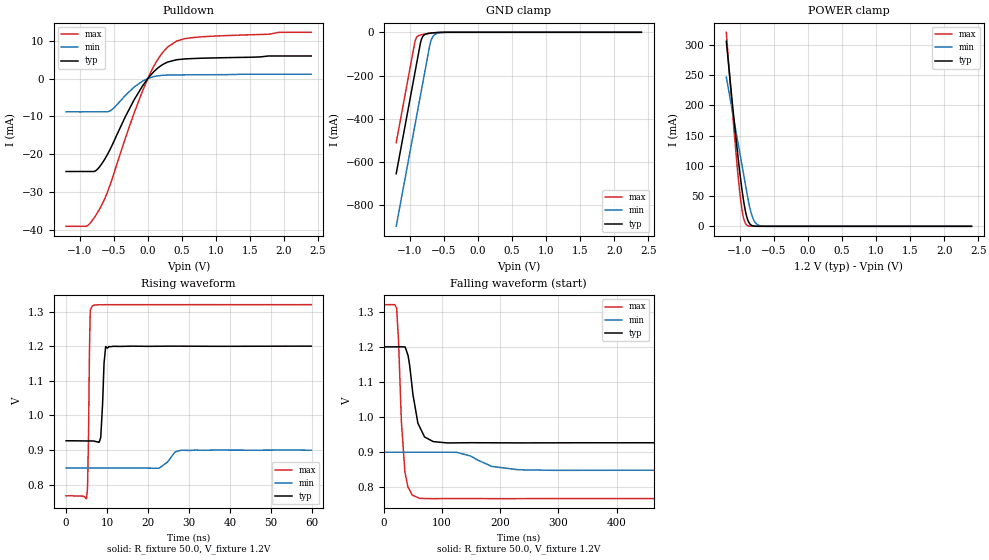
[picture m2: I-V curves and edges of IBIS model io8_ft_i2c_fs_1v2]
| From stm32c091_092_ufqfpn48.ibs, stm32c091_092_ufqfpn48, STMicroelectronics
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[Model]   io8_ft_i2c_fs_1v2
Model_type I/O_open_drain
Polarity   Non-Inverting
Enable   Active-Low
| CAP_THRESHOLD on pad IOFT is "UDTCAPC" :
| Rising=30.0% of vddiom   Falling=70.0% of vddiom
| C_comp min and max val. don't necessarily correlate with the min and max pvt
| but are the smallest and greatest pad capacitance found.
| var   typ   min   max
C_comp   1.89955pF  1.76150pF  1.92615pF
|C_comp_pulldown   1.89955pF  1.76150pF  1.92615pF
Vinl = 450.0mV
Vinh = 660.0mV
Vmeas = 600.0mV   | Reference voltage for timing measurements
Cref  = 50.0pF   | Timing specification test load capacitance value
Rref  = 1.0MOhm   | Timing specification test load resistance value
Vref  = 660.0mV   | Timing specification test load voltage
[Model Spec]
| TIME_THRESHOLD on pin ZII2CV12 is "CMOS" :
| Rising=50.0% of vdd   Falling=50.0% of vdd
Vinl 458.70000mV 361.70000mV 499.70000mV
Vinh 728.30000mV 549.30000mV 792.30000mV
| variable   typ   min   max
[Temperature Range] 25.0 125.0 -40.0
| variable   typ   min   max
[Voltage Range] 1.2V 900.0mV 1.32V
| variable   typ   min   max
[POWER Clamp Reference] 1.2V 900.0mV 1.32V
| variable   typ   min   max
[GND Clamp Reference] 0V 0V 0V
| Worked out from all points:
|   slope of the pulldown table from 0 to 0.18 V, typ, clamps not added: 55.2 ohm
|   GND clamp passes 1 mA (typ) near -0.58 V on its own axis
|   POWER clamp passes 1 mA (typ) near -0.81 V on its own axis
|   rising waveform, R_fixture 50.0, V_fixture 1.2V: 20-80 % time 581ps typ, 2.26ns min, 365ps max; typ from 0.927 V to 1.2 V
|   falling waveform, R_fixture 50.0, V_fixture 1.2V: 20-80 % time 14.3ns typ, 40.3ns min, 9.37ns max; typ from 1.2 V to 0.927 V
[POWER Clamp]
-1.2V     306.2mA    246.9mA    321.2mA
-1.09V    180mA      177.2mA    163.4mA
-1.05V    136.9mA    151.8mA    110.9mA
-1.01V    96.55mA    126.4mA    64.02mA
-960mV    52.29mA    94.73mA    20.68mA
-930mV    31.08mA    75.71mA    7.282mA
-900mV    15.67mA    56.69mA    2.025mA
-860mV    4.779mA    33.42mA    315.2uA
-810mV    823.2uA    13.62mA    29.21uA
-760mV    129.2uA    4.248mA    2.687uA
-690mV    9.442uA    651.7uA    95.02nA
2.4V      0A         0A         0A
[GND Clamp]
-1.2V     -654.2mA   -897.4mA   -510.5mA
-920mV    -178.2mA   -421.4mA   -38.03mA
-890mV    -127.2mA   -370.4mA   -19.79mA
-840mV    -43.84mA   -285.4mA   -12.07mA
-820mV    -25.28mA   -251.4mA   -10.64mA
-780mV    -10.73mA   -183.4mA   -8.317mA
-700mV    -3.985mA   -50.14mA   -4.515mA
-670mV    -2.94mA    -24.28mA   -3.345mA
-640mV    -2.115mA   -12.33mA   -2.341mA
-570mV    -791.5uA   -2.935mA   -746.3uA
-440mV    -36.45uA   -184.1uA   -16.55uA
2.4V      342.4pA    36.99nA    239.3pA
| variable   typ   min   max
[Pullup Reference] 1.2V 900.0mV 1.32V
| variable   typ   min   max
[Pulldown Reference] 0V 0V 0V
[Pulldown]
-1.2V     -24.6mA    -8.807mA   -39.12mA
-890mV    -24.6mA    -8.807mA   -39.02mA
-780mV    -24.54mA   -8.807mA   -36.66mA
-710mV    -23.4mA    -8.807mA   -34.61mA
-530mV    -17.87mA   -8.266mA   -26.91mA
-330mV    -10.09mA   -4.455mA   -15.79mA
-80mV     -2.02mA    -710uA     -3.413mA
110mV     2.211mA    605.8uA    3.97mA
290mV     4.374mA    930.5uA    8.331mA
420mV     4.991mA    971.4uA    9.931mA
670mV     5.322mA    1.008mA    10.89mA
2.4V      5.995mA    1.165mA    12.27mA
[Ramp]
dV/dt_r 164.04361mV/580.74116ps 30.63254mV/2.26268ns 331.19591mV/364.95099ps
dV/dt_f 163.75797mV/14.34247ns 30.71298mV/40.30411ns 331.28468mV/9.37113ns
R_load = 50.0
| Removed startup time: 0s 0s 0s  .
| Removed end time: 59.75ns.
[Rising Waveform]
R_fixture   = 50.0
V_fixture   = 1.2V
V_fixture_min = 900.0mV
V_fixture_max = 1.32V
0s        926.8mV    848.6mV    768mV
5ns       926.4mV    848.6mV    762.2mV
5.25ns    926.4mV    848.6mV    803.8mV
5.7ns     926.4mV    848.6mV    1.187V
5.9ns     926.4mV    848.6mV    1.304V
6.5ns     926.3mV    848.6mV    1.317V
8.45ns    937.6mV    848.6mV    1.32V
9.25ns    1.15V      848.6mV    1.32V
9.65ns    1.199V     848.6mV    1.32V
59.75ns   1.2V       899.7mV    1.32V
| Removed startup time: 0s 0s 0s  .
| Removed end time: 999.6ns.
[Falling Waveform]
R_fixture   = 50.0
V_fixture   = 1.2V
V_fixture_min = 900.0mV
V_fixture_max = 1.32V
0s        1.2V       900mV      1.32V
21.9ns    1.2V       900mV      1.309V
25.05ns   1.2V       900mV      1.218V
30ns      1.2V       900mV      987.4mV
36ns      1.2V       900mV      845mV
48.45ns   1.085V     900mV      778.3mV
61.5ns    972.1mV    900mV      768.6mV
109.5ns   926.4mV    900mV      768.1mV
231.9ns   926.6mV    850mV      767.9mV
999.6ns   927.1mV    848.8mV    767.9mV
